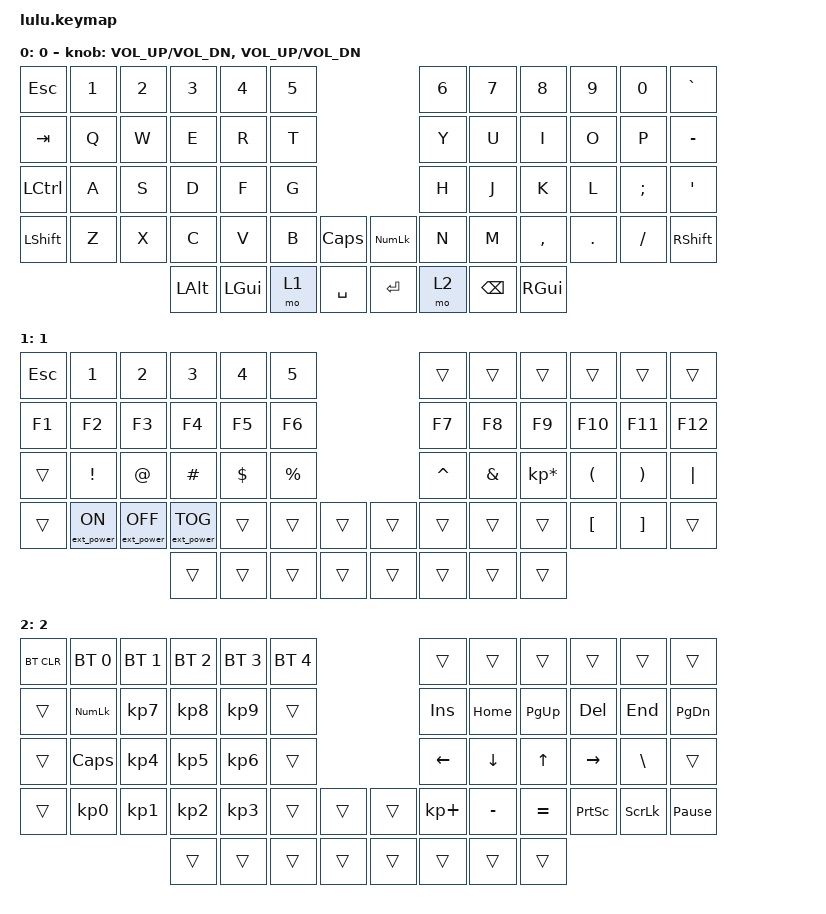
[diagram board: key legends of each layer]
// Copyright 2022 jack (@waffle87)
// SPDX-License-Identifier: MIT

#include <behaviors.dtsi>
#include <dt-bindings/zmk/keys.h>
#include <dt-bindings/zmk/bt.h>
#include <dt-bindings/zmk/ext_power.h>

/ {
    keymap {
      compatible = "zmk,keymap";
      0 {
        bindings = <
&kp ESC   &kp N1 &kp N2 &kp N3   &kp N4   &kp N5                     &kp N6 &kp N7   &kp N8    &kp N9  &kp N0   &kp GRAVE
&kp TAB   &kp Q  &kp W  &kp E    &kp R    &kp T                      &kp Y  &kp U    &kp I     &kp O   &kp P    &kp MINUS
&kp LCTRL &kp A  &kp S  &kp D    &kp F    &kp G                      &kp H  &kp J    &kp K     &kp L   &kp SEMI &kp SQT
&kp LSHFT &kp Z  &kp X  &kp C    &kp V    &kp B  &kp CAPS   &kp KP_NUM &kp N  &kp M    &kp COMMA &kp DOT &kp FSLH &kp RSHFT
                        &kp LALT &kp LGUI &mo 1  &kp SPACE  &kp RET  &mo 2  &kp BSPC &kp RGUI
        >;
        sensor-bindings = <&inc_dec_kp C_VOL_UP C_VOL_DN &inc_dec_kp C_VOL_UP C_VOL_DN>;
      };
      1 {
        bindings = <
&kp ESC    &kp N1 &kp N2 &kp N3   &kp N4   &kp N5              &trans    &trans    &trans          &trans    &trans    &trans
&kp F1     &kp F2           &kp F3            &kp F4            &kp F5       &kp F6                       &kp F7    &kp F8    &kp F9          &kp F10   &kp F11   &kp F12
&trans  &kp EXCL         &kp AT            &kp HASH          &kp DOLLAR   &kp PRCNT                    &kp CARET &kp AMPS  &kp KP_MULTIPLY &kp LPAR  &kp RPAR  &kp PIPE
&trans     &ext_power EP_ON &ext_power EP_OFF &ext_power EP_TOG &trans       &trans    &trans   &trans    &trans    &trans    &trans     &kp LBKT &kp RBKT  &trans
                                              &trans            &trans       &trans    &trans   &trans    &trans    &trans    &trans
        >;
      };
      2 {
        bindings = <
&bt BT_CLR &bt BT_SEL 0     &bt BT_SEL 1      &bt BT_SEL 2      &bt BT_SEL 3 &bt BT_SEL 4           &trans &trans &trans &trans &trans &trans     
&trans    &kp KP_NUM &kp KP_N7 &kp KP_N8  &kp KP_N9  &trans                       &kp INSERT      &kp HOME    &kp PG_UP    &kp DEL    &kp END &kp PG_DN
&trans    &kp CAPS &kp KP_N4 &kp KP_N5 &kp KP_N6  &trans                       &kp LEFT    &kp DOWN  &kp UP    &kp RIGHT &kp BSLH    &trans
&trans    &kp KP_N0 &kp KP_N1 &kp KP_N2 &kp KP_N3 &trans   &trans   &trans    &kp KP_PLUS &kp MINUS &kp EQUAL &kp PSCRN   &kp SLCK  &kp PAUSE_BREAK
                        &trans  &trans  &trans    &trans   &trans    &trans      &trans    &trans
        >;
      };
    };
  };
